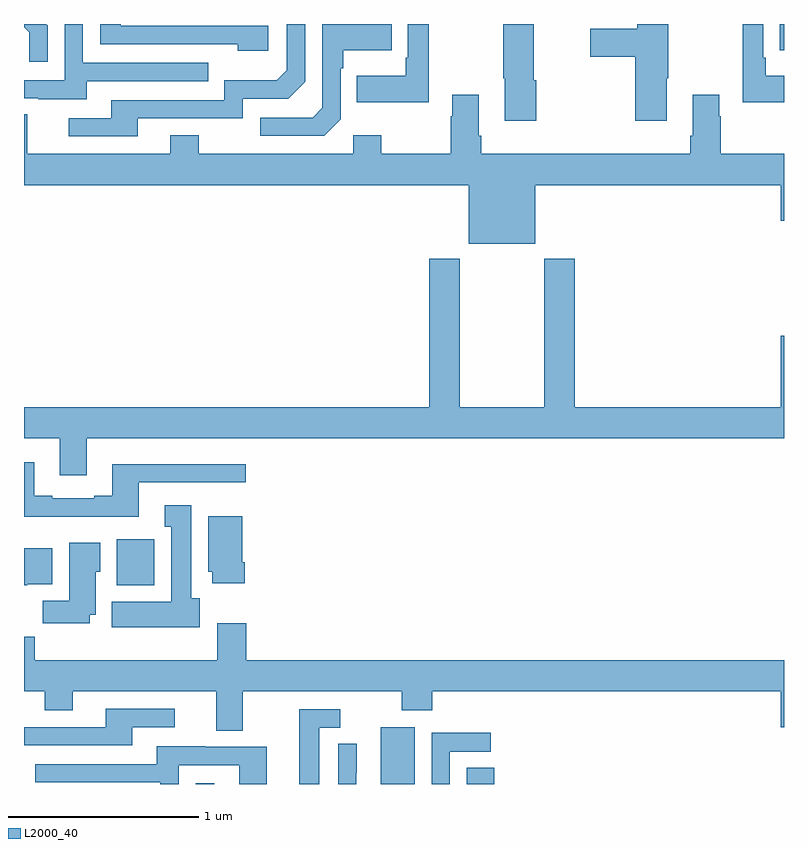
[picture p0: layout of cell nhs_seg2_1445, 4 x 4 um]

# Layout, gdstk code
import gdstk
lib = gdstk.Library(unit=1e-6, precision=1e-09)
def R(c, l, rs):  # rectangles x0, y0, x1, y1
    for r in rs: c.add(gdstk.rectangle(r[:2], r[2:], *l))
def P(c, l, *ps):  # polygons
    for p in ps: c.add(gdstk.Polygon(p, *l))
L2000_40 = (2000, 40)

nhs_seg2_1445 = lib.new_cell('nhs_seg2_1445')
R(nhs_seg2_1445, L2000_40, [(185.904,661.8,186.001,661.804), (186.878,661.8,187.057,662.098), (187.331,661.8,187.475,661.886), (185.489,662.846,185.686,663.088), (188.977,665.663,189,665.8)])
P(nhs_seg2_1445, L2000_40, [(187.129,665.8),(187.02,665.8),(187.02,665.623),(187.008,665.623),(187.008,665.527),(186.751,665.527),(186.751,665.387),(187.129,665.387)],
  [(185.124,665.794),(185.118,665.8),(185,665.8),(185,665.784),(185.027,665.757),(185.027,665.601),(185.124,665.601)],
  [(188.383,665.515),(188.391,665.515),(188.391,665.8),(188.228,665.8),(188.228,665.774),(187.98,665.774),(187.98,665.627),(188.216,665.627),(188.216,665.292),(188.383,665.292)],
  [(189,665.527),(188.905,665.527),(188.905,665.623),(188.892,665.623),(188.892,665.8),(188.784,665.8),(188.784,665.387),(189,665.387)],
  [(186.286,665.79),(185.509,665.79),(185.509,665.8),(185.4,665.8),(185.4,665.694),(186.125,665.694),(186.125,665.66),(186.286,665.66)],
  [(187.697,665.504),(187.684,665.504),(187.684,665.8),(187.522,665.8),(187.522,665.515),(187.529,665.515),(187.529,665.292),(187.697,665.292)],
  [(185.329,665.499),(185.969,665.499),(185.969,665.595),(185.31,665.595),(185.31,665.8),(185.214,665.8),(185.214,665.505),(185,665.505),(185,665.409),(185.075,665.409),(185.075,665.405),(185.329,665.405)],
  [(186.666,665.298),(186.666,665.567),(186.679,665.567),(186.679,665.663),(186.935,665.663),(186.935,665.8),(186.57,665.8),(186.57,665.358),(186.519,665.307),(186.243,665.307),(186.243,665.211),(186.579,665.211)],
  [(185.599,665.304),(186.15,665.304),(186.15,665.406),(186.39,665.406),(186.48,665.496),(186.48,665.8),(186.384,665.8),(186.384,665.556),(186.331,665.503),(186.054,665.503),(186.054,665.4),(185.459,665.4),(185.459,665.304),(185.235,665.304),(185.235,665.208),(185.599,665.208)],
  [(187.69,664.952),(188.984,664.952),(188.984,664.764),(189,664.764),(189,665.116),(188.667,665.116),(188.667,665.315),(188.659,665.315),(188.659,665.428),(188.519,665.428),(188.519,665.212),(188.507,665.212),(188.507,665.116),(187.406,665.116),(187.406,665.212),(187.393,665.212),(187.393,665.428),(187.253,665.428),(187.253,665.315),(187.246,665.315),(187.246,665.116),(186.879,665.116),(186.879,665.215),(186.732,665.215),(186.732,665.116),(185.919,665.116),(185.919,665.215),(185.771,665.215),(185.771,665.116),(185.017,665.116),(185.017,665.324),(185,665.324),(185,664.952),(187.34,664.952),(187.34,664.643),(187.69,664.643)],
  [(185.329,663.62),(189,663.62),(189,664.159),(188.984,664.159),(188.984,663.784),(187.898,663.784),(187.898,664.564),(187.738,664.564),(187.738,663.784),(187.293,663.784),(187.293,664.564),(187.133,664.564),(187.133,663.784),(185,663.784),(185,663.62),(185.189,663.62),(185.189,663.426),(185.329,663.426)],
  [(185.605,663.387),(186.166,663.387),(186.166,663.484),(185.465,663.484),(185.465,663.316),(185.369,663.316),(185.369,663.303),(185.149,663.303),(185.149,663.316),(185.053,663.316),(185.053,663.493),(185,663.493),(185,663.206),(185.605,663.206)],
  [(185.926,662.778),(185.881,662.778),(185.881,663.268),(185.741,663.268),(185.741,663.155),(185.774,663.155),(185.774,662.758),(185.462,662.758),(185.462,662.624),(185.926,662.624)],
  [(186.161,662.968),(186.148,662.968),(186.148,663.208),(185.969,663.208),(185.969,662.916),(185.99,662.916),(185.99,662.856),(186.161,662.856)],
  [(185.347,662.69),(185.377,662.69),(185.377,662.916),(185.401,662.916),(185.401,663.07),(185.237,663.07),(185.237,662.764),(185.098,662.764),(185.098,662.646),(185.347,662.646)],
  [(185.016,662.852),(185.149,662.852),(185.149,663.04),(185,663.04),(185,662.846),(185.016,662.846)],
  [(186.151,662.288),(186.988,662.288),(186.988,662.189),(187.148,662.189),(187.148,662.288),(188.984,662.288),(188.984,662.1),(189,662.1),(189,662.452),(186.17,662.452),(186.17,662.647),(186.017,662.647),(186.017,662.452),(185.057,662.452),(185.057,662.576),(185,662.576),(185,662.288),(185.11,662.288),(185.11,662.189),(185.257,662.189),(185.257,662.288),(186.011,662.288),(186.011,662.08),(186.151,662.08)],
  [(185.569,662.1),(185.794,662.1),(185.794,662.196),(185.429,662.196),(185.429,662.1),(185,662.1),(185,662.004),(185.569,662.004)],
  [(186.553,662.097),(186.664,662.097),(186.664,662.193),(186.449,662.193),(186.449,661.8),(186.553,661.8)],
  [(187.242,661.971),(187.456,661.971),(187.456,662.07),(187.146,662.07),(187.146,661.8),(187.242,661.8)],
  [(186.749,661.858),(186.75,661.858),(186.75,662.012),(186.654,662.012),(186.654,661.8),(186.749,661.8)],
  [(185.814,661.899),(186.132,661.899),(186.132,661.8),(186.277,661.8),(186.277,661.995),(185.953,661.995),(185.953,661.999),(185.699,661.999),(185.699,661.905),(185.059,661.905),(185.059,661.809),(185.718,661.809),(185.718,661.8),(185.814,661.8)])

lib.write_gds('nhs_seg2_1445.gds')
